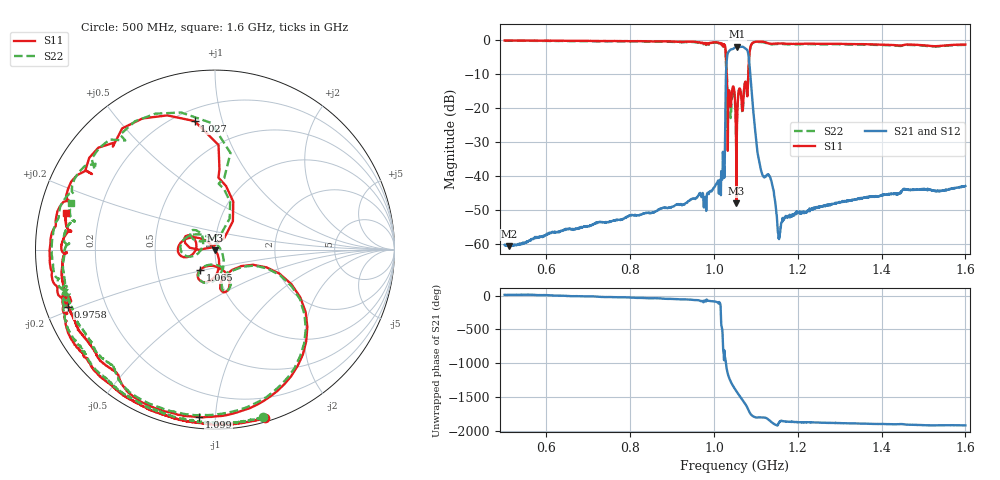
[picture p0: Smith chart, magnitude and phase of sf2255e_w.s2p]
# Hz S RI R 50
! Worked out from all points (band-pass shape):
!   1601 points, 500 MHz to 1.6 GHz, reference 50 ohm
!   highest |S21| = -1.98 dB at 1.056 GHz (marker M1); lowest = -60.7 dB at 510.3 MHz (marker M2)
!   |S21| within 3 dB of the highest: 1.031 GHz to 1.083 GHz (51.56 MHz wide, 4.88 % of centre)
!   lowest |S11| = -48.0 dB at 1.053 GHz (marker M3), VSWR 1.01, Z = 50.3 - j0.295 ohm
!   |S11| at or under -10 dB: 1.03 GHz to 1.082 GHz (51.3 MHz wide, 4.86 % of centre)
!   |S22| runs from -30.4 to -0.2 dB; largest |S21 - S12| = 0.0036
!   S11 on the Smith chart (normalised r, x): 500 MHz: 0.03, -1.34; 975.8 MHz: 0.07, -0.19; 1.027 GHz: 0.27, +0.82; 1.065 GHz: 0.83, -0.19; 1.099 GHz: 0.06, -0.91; 1.6 GHz: 0.08, +0.12
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5e8  0.2785 -0.9395  0.000948 0.000189  0.000947 0.000174  0.2663 -0.9352
5.103125e8  0.252 -0.9462  0.000913 0.000152  0.000927 0.000147  0.2401 -0.94
6.835625e8  -0.1719 -0.9529  0.00172 -0.00031  0.00173 -0.00032  -0.1896 -0.9414
8.67125e8  -0.6037 -0.7353  0.00238 -0.00205  0.00238 -0.00207  -0.6233 -0.7075
9.7575e8  -0.8201 -0.3178  0.000552 -0.00338  0.000516 -0.00339  -0.8174 -0.2811
1.01975e9  -0.769 0.4146  -0.00727 -0.00506  -0.00727 -0.00501  -0.7248 0.466
1.027312e9  -0.1135 0.7159  -0.0791 0.0897  -0.0789 0.09  -0.0205 0.7056
1.032812e9  -0.0202 0.0118  0.1554 -0.6216  0.154 -0.6229  -0.0241 0.054
1.040375e9  -0.11 -0.00782  -0.6825 0.2454  -0.682 0.2454  -0.0792 -0.00381
1.05e9  -0.1097 0.0683  0.4086 0.6543  0.4089 0.6546  -0.0855 0.0854
1.053438e9  0.00266 -0.00294  0.7158 0.3394  0.717 0.3396  0.0299 0.00383
1.0555e9  0.0233 -0.0821  0.7917 0.0861  0.7916 0.0859  0.049 -0.0822
1.065125e9  -0.0828 -0.1132  0.1818 -0.7709  0.1817 -0.7705  -0.0811 -0.1109
1.075438e9  0.0472 -0.2375  -0.7332 -0.1164  -0.7319 -0.1145  0.0556 -0.232
1.083e9  0.4253 -0.1921  -0.0593 0.5427  -0.0573 0.5412  0.4251 -0.2021
1.098812e9  -0.0894 -0.9329  0.0424 0.000115  0.0423 -8.55e-05  -0.1163 -0.9223
1.113938e9  -0.4092 -0.8491  0.0111 -0.000419  0.0111 -0.000422  -0.434 -0.8223
1.138e9  -0.5583 -0.6772  0.00196 -0.0076  0.00194 -0.00759  -0.5725 -0.643
1.155875e9  -0.6249 -0.6306  0.000525 -0.00117  0.000516 -0.00116  -0.6413 -0.5902
1.233562e9  -0.7697 -0.4255  0.000846 -0.00314  0.000888 -0.00317  -0.7801 -0.3779
1.417125e9  -0.8471 -0.0462  -0.000896 -0.00523  -0.000917 -0.00522  -0.8352 0.00669
1.6e9  -0.8299 0.2039  -0.0034 -0.00623  -0.00336 -0.00619  -0.8029 0.2617
